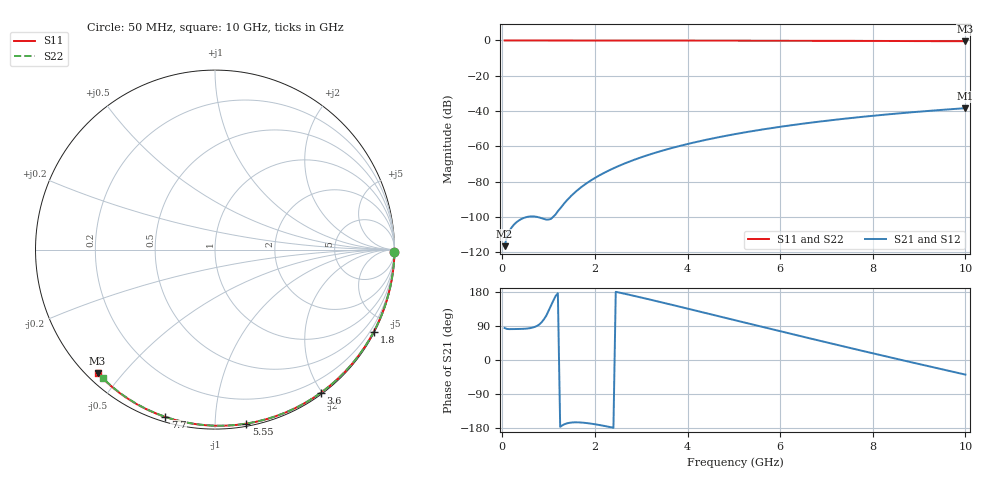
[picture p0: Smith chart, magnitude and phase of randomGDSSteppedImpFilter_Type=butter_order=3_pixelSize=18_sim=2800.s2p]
! freq	dB(S11)	phase(S11)	dB(S12)	phase(S12)
!  dB(S21)	phase(S21)	dB(S22)	phase(S22)
!S-par simulation data
#  GHz  S  DB  R 50
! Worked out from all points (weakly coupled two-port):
!   200 points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, 50 MHz to 10 GHz, reference 50 ohm
!   highest |S21| = -38.40 dB at 10 GHz (marker M1); lowest = -116.7 dB at 50 MHz (marker M2)
!   lowest |S11| = -0.5 dB at 10 GHz (marker M3), VSWR 38.56, Z = 1.54 - j21.4 ohm
!   |S11| at or under -10 dB: nowhere
!   |S22| runs from -0.4 to 0.0 dB; largest |S21 - S12| = 0
!   S11 on the Smith chart (normalised r, x): 50 MHz: open; 1.8 GHz: 0.04, -4.11; 3.6 GHz: 0.02, -1.99; 5.55 GHz: 0.02, -1.20; 7.7 GHz: 0.02, -0.75; 10 GHz: 0.03, -0.43
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0.05  -0.00 -0.8  -116.66 84.4  -116.66 84.4  -0.00 -0.8
0.45  -0.01 -6.9  -100.80 82.2  -100.80 82.2  -0.01 -6.8
0.9  -0.02 -13.8  -101.28 107.6  -101.28 107.6  -0.02 -13.6
1.75  -0.03 -26.6  -82.31 -165.5  -82.31 -165.5  -0.03 -26.1
1.8  -0.03 -27.3  -81.36 -166.1  -81.36 -166.1  -0.03 -26.8
1.85  -0.04 -28.1  -80.46 -166.8  -80.46 -166.8  -0.04 -27.6
1.9  -0.04 -28.8  -79.60 -167.6  -79.60 -167.6  -0.04 -28.3
2.05  -0.04 -31.0  -77.21 -170.5  -77.21 -170.5  -0.04 -30.5
2.25  -0.04 -34.0  -74.39 -175.1  -74.39 -175.1  -0.04 -33.4
2.65  -0.05 -39.8  -69.68 174.6  -69.68 174.6  -0.05 -39.1
3  -0.06 -44.9  -66.26 164.9  -66.26 164.9  -0.06 -44.1
3.4  -0.07 -50.6  -62.92 153.3  -62.92 153.3  -0.07 -49.7
3.6  -0.07 -53.4  -61.43 147.5  -61.43 147.5  -0.07 -52.5
4.3  -0.09 -63.1  -56.91 126.7  -56.91 126.7  -0.09 -62.0
5.05  -0.11 -73.2  -52.99 104.3  -52.99 104.3  -0.11 -72.0
5.55  -0.13 -79.8  -50.76 89.4  -50.76 89.4  -0.13 -78.4
6.1  -0.15 -86.8  -48.59 73.0  -48.59 73.0  -0.15 -85.4
6.7  -0.18 -94.4  -46.50 55.4  -46.50 55.4  -0.18 -92.8
7.7  -0.24 -106.6  -43.52 26.3  -43.52 26.3  -0.24 -104.7
8.35  -0.29 -114.3  -41.86 7.7  -41.86 7.7  -0.29 -112.3
9.15  -0.36 -123.7  -40.06 -14.9  -40.06 -14.9  -0.36 -121.5
10  -0.45 -133.5  -38.40 -38.5  -38.40 -38.5  -0.44 -131.0
